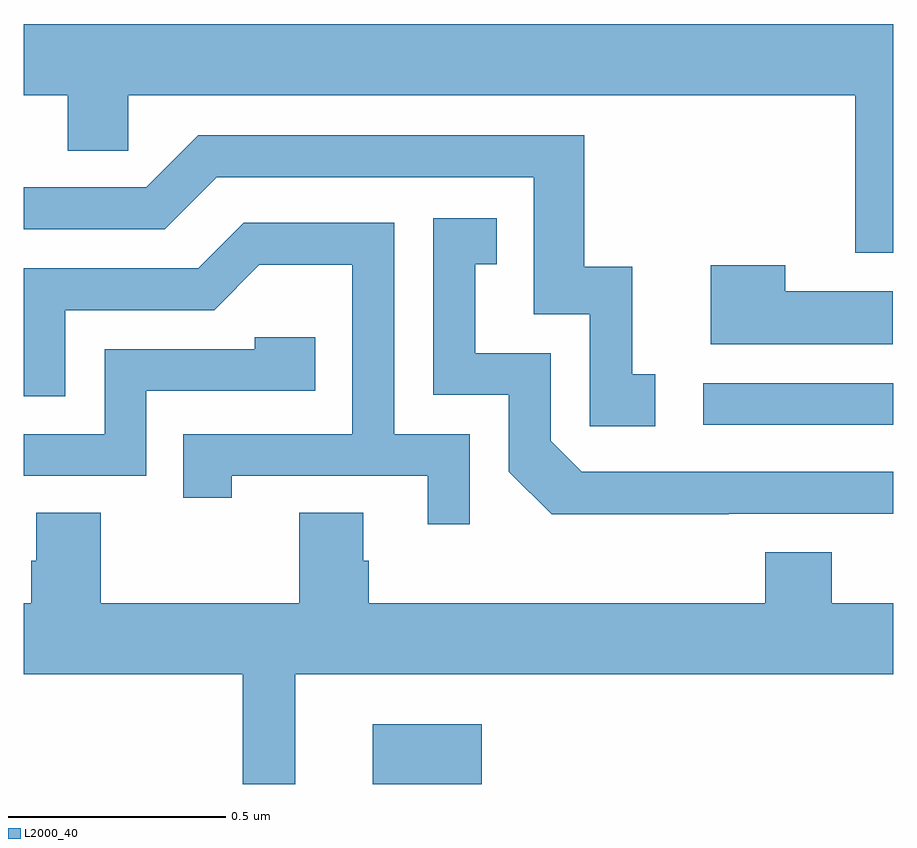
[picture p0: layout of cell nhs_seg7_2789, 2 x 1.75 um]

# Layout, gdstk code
import gdstk
lib = gdstk.Library(unit=1e-6, precision=1e-09)
def R(c, l, rs):  # rectangles x0, y0, x1, y1
    for r in rs: c.add(gdstk.rectangle(r[:2], r[2:], *l))
def P(c, l, *ps):  # polygons
    for p in ps: c.add(gdstk.Polygon(p, *l))
L2000_40 = (2000, 40)

nhs_seg7_2789 = lib.new_cell('nhs_seg7_2789')
R(nhs_seg7_2789, L2000_40, [(150.803,1031,151.054,1031.137), (151.563,1031.826,152,1031.922)])
P(nhs_seg7_2789, L2000_40, [(152,1032.748),(150,1032.748),(150,1032.584),(150.101,1032.584),(150.101,1032.457),(150.24,1032.457),(150.24,1032.584),(151.913,1032.584),(151.913,1032.222),(152,1032.222)],
  [(151.453,1031.943),(151.4,1031.943),(151.4,1032.19),(151.289,1032.19),(151.289,1032.492),(150.402,1032.492),(150.282,1032.372),(150,1032.372),(150,1032.276),(150.324,1032.276),(150.444,1032.396),(151.173,1032.396),(151.173,1032.081),(151.302,1032.081),(151.302,1031.823),(151.453,1031.823)],
  [(151.622,1031.622),(152,1031.622),(152,1031.718),(151.284,1031.718),(151.212,1031.79),(151.212,1031.991),(151.039,1031.991),(151.039,1032.195),(151.088,1032.195),(151.088,1032.301),(150.942,1032.301),(150.942,1031.895),(151.116,1031.895),(151.116,1031.718),(151.214,1031.621),(151.622,1031.621)],
  [(151.026,1031.805),(150.852,1031.805),(150.852,1032.291),(150.506,1032.291),(150.401,1032.186),(150,1032.186),(150,1031.892),(150.096,1031.892),(150.096,1032.09),(150.438,1032.09),(150.542,1032.194),(150.756,1032.194),(150.756,1031.805),(150.367,1031.805),(150.367,1031.658),(150.478,1031.658),(150.478,1031.709),(150.929,1031.709),(150.929,1031.598),(151.026,1031.598)],
  [(151.999,1032.133),(151.751,1032.133),(151.751,1032.193),(151.58,1032.193),(151.58,1032.011),(151.999,1032.011)],
  [(150.282,1031.904),(150.671,1031.904),(150.671,1032.027),(150.531,1032.027),(150.531,1032),(150.186,1032),(150.186,1031.805),(150,1031.805),(150,1031.709),(150.282,1031.709)],
  [(150.625,1031.252),(152,1031.252),(152,1031.416),(151.858,1031.416),(151.858,1031.533),(151.706,1031.533),(151.706,1031.416),(150.794,1031.416),(150.794,1031.514),(150.781,1031.514),(150.781,1031.624),(150.634,1031.624),(150.634,1031.416),(150.177,1031.416),(150.177,1031.624),(150.029,1031.624),(150.029,1031.514),(150.017,1031.514),(150.017,1031.416),(150,1031.416),(150,1031.252),(150.504,1031.252),(150.504,1031),(150.625,1031)])

lib.write_gds('nhs_seg7_2789.gds')
